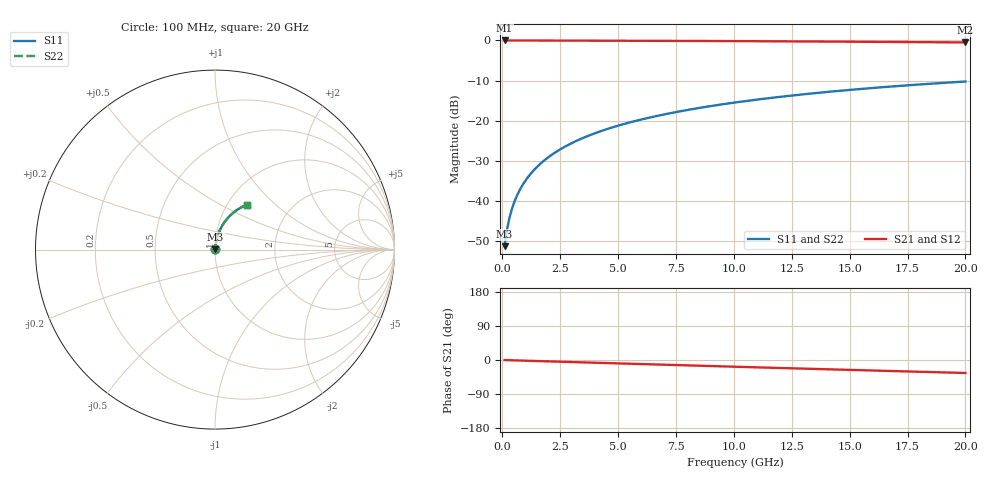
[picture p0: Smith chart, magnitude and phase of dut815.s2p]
! Touchstone file exported from HFSS 2026.1.0
!  File:  C:/ffzhzh/LocalFiles/Ansys_Project_Files/temp_train_TMRDL_815_1783156352_55132.aedt
!  Generated:  05:13:51 PM Jul  4, 2026
!  Design:  TMRDL
!  Project:  temp_train_TMRDL_815_1783156352_55132
! Variables:
!  h_bsmrdl = 2um
!  h_ox = 20um
!  h_rdl = 5um
!  h_sub = 80um
!  h_tmrdl = 3.51um
!  h_tsv = 80um
!  h_via = 3um
!  l_bsmrdl = 300um
!  l_sub = 881.74um
!  l_tmrdl = 481.74um
!  m_sub = 200um
!  pitch = 56.84um
!  r_tsv = 6um
!  s_tmrdl = 10um
!  w_bsmrdl = 18um
!  w_sub = 500um
!  w_tmrdl = 28.92um
!  x_tsv_center1 = 496.2um
!  x_tsv_center2 = 814.2um
!  x_tsv_center3 = 1324.86um
!  x_tsv_center4 = 1642.86um
!  x_tsv_center5 = 2153.52um
!  x_tsv_center6 = 2471.52um
# GHz S MA R 50.000000
! Terminal data exported
! Port[1] = TM_RDL1_1_T1
! Port[2] = TM_RDL1_1_T2
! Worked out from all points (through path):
!   200 points, 100 MHz to 20 GHz, reference 50 ohm
!   highest |S21| = -0.02 dB at 100 MHz (marker M1); lowest = -0.5 dB at 20 GHz (marker M2)
!   group delay of S21, straight-line fit = 4.76 ps
!   lowest |S11| = -51.2 dB at 100 MHz (marker M3), VSWR 1.01, Z = 50.2 + j0.196 ohm
!   |S11| at or under -10 dB: start of sweep to end of sweep
!   |S22| runs from -51.2 to -10.2 dB; largest |S21 - S12| = 2.1e-15
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0.1  0.002759 45.0  0.9981 -0.2  0.9981 -0.2  0.002759 45.0
! Gamma 0 0 0 0
! Port Impedance 50 0 50 0
0.2  0.004363 61.2  0.9979 -0.4  0.9979 -0.4  0.004363 61.2
0.3  0.006056 68.1  0.9978 -0.6  0.9978 -0.6  0.006057 68.1
0.4  0.007752 71.9  0.9977 -0.7  0.9977 -0.7  0.007752 71.9
0.5  0.009448 74.5  0.9976 -0.9  0.9976 -0.9  0.009448 74.5
0.6  0.01115 76.3  0.9975 -1.1  0.9975 -1.1  0.01115 76.3
0.8  0.01458 78.6  0.9974 -1.5  0.9974 -1.5  0.01458 78.6
1.1  0.01976 80.4  0.9972 -2.0  0.9972 -2.0  0.01976 80.4
1.5  0.02671 81.5  0.997 -2.7  0.997 -2.7  0.02671 81.5
1.8  0.03194 81.8  0.9967 -3.3  0.9967 -3.3  0.03194 81.8
2.1  0.03716 81.8  0.9965 -3.8  0.9965 -3.8  0.03716 81.8
2.7  0.04758 81.5  0.9959 -4.9  0.9959 -4.9  0.04758 81.5
3.5  0.0614 80.6  0.9948 -6.3  0.9948 -6.3  0.0614 80.6
4.2  0.07339 79.6  0.9937 -7.6  0.9937 -7.6  0.07339 79.6
5  0.08696 78.4  0.9923 -9.0  0.9923 -9.0  0.08696 78.4
5.9  0.102 77.0  0.9905 -10.6  0.9905 -10.6  0.102 77.0
6.8  0.1169 75.5  0.9884 -12.2  0.9884 -12.2  0.1169 75.5
8.3  0.1412 73.1  0.9847 -14.8  0.9847 -14.8  0.1413 73.1
10.1  0.1696 70.1  0.9796 -17.9  0.9796 -17.9  0.1696 70.1
13.4  0.2193 64.7  0.9688 -23.5  0.9688 -23.5  0.2193 64.7
16.7  0.2655 59.5  0.9566 -28.9  0.9566 -28.9  0.2656 59.4
20  0.3081 54.3  0.9433 -34.3  0.9433 -34.3  0.3081 54.2
